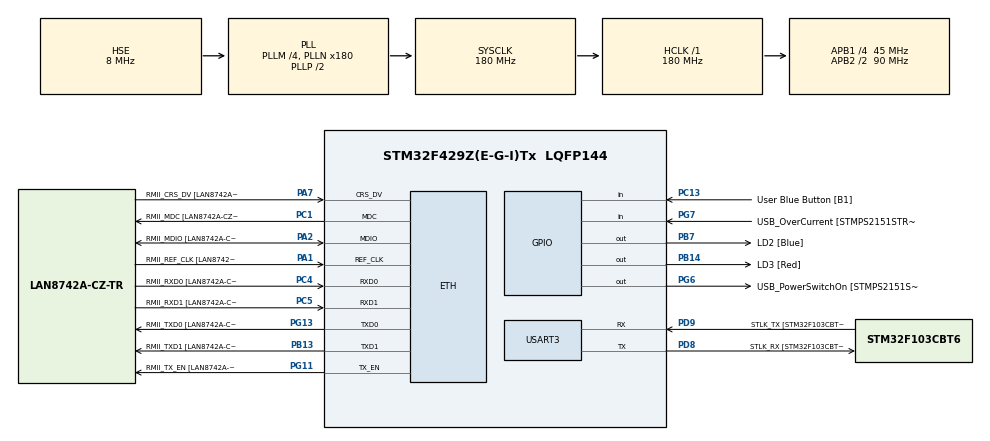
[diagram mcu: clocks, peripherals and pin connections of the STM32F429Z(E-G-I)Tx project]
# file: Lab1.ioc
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ETH.MediaInterface=ETH_MEDIA_INTERFACE_RMII
ETH.PHY_DUPLEX_STATUS=0x0010
ETH.PHY_MICR=0x1D
ETH.PHY_MISR=0x1E
ETH.PHY_MISR_LINK_INT_EN=0x0010
ETH.PHY_Name=LAN8742A_PHY_ADDRESS
ETH.PHY_SPEED_STATUS=0x0004
ETH.PHY_SR=0x1F
ETH.PhyAddress=0
ETH.RxMode=ETH_RXPOLLING_MODE
LWIP.LWIP_NETIF_LINK_CALLBACK=1
LWIP.LWIP_UDP=1
LWIP.MEMP_NUM_PBUF=10
LWIP.MEMP_NUM_TCP_PCB=10
LWIP.MEMP_NUM_TCP_PCB_LISTEN=10
LWIP.MEMP_NUM_TCP_SEG=12
LWIP.MEMP_NUM_UDP_PCB=6
LWIP.MEM_SIZE=10240
LWIP.NO_SYS_NO_TIMERS=0
LWIP.PBUF_POOL_BUFSIZE=512
LWIP.PBUF_POOL_SIZE=12
LWIP.TCP_MSS=1460
LWIP.TCP_QUEUE_OOSEQ=0
LWIP.TCP_SND_BUF=5840
LWIP.TCP_SND_QUEUELEN=8
LWIP.TCP_WND=2920
LWIP.Version=v1.5.0_RC0_20160211_Cube
Mcu.Family=STM32F4
Mcu.Name=STM32F429Z(E-G-I)Tx
Mcu.Package=LQFP144
NVIC.ETH_IRQn=true\:7\:0\:true\:false\:true
NVIC.PriorityGroup=NVIC_PRIORITYGROUP_4
PA1.GPIO_Label=RMII_REF_CLK [LAN8742A-CZ-TR_REFCLK0]
PA1.Mode=RMII
PA1.Signal=ETH_REF_CLK
PA10.GPIO_Label=USB_ID
PA10.Signal=USB_OTG_FS_ID
PA11.GPIO_Label=USB_DM
PA11.Signal=USB_OTG_FS_DM
PA12.GPIO_Label=USB_DP
PA12.Signal=USB_OTG_FS_DP
PA13.GPIO_Label=TMS
PA13.Mode=Serial_Wire
PA13.Signal=SYS_JTMS-SWDIO
PA14.GPIO_Label=TCK
PA14.Mode=Serial_Wire
PA14.Signal=SYS_JTCK-SWCLK
PA2.GPIO_Label=RMII_MDIO [LAN8742A-CZ-TR_MDIO]
PA2.Mode=RMII
PA2.Signal=ETH_MDIO
PA7.GPIO_Label=RMII_CRS_DV [LAN8742A-CZ-TR_CRS_DV]
PA7.Mode=RMII
PA7.Signal=ETH_CRS_DV
PA8.GPIO_Label=USB_SOF [TP1]
PA8.Signal=USB_OTG_FS_SOF
PA9.GPIO_Label=USB_VBUS
PA9.Signal=USB_OTG_FS_VBUS
PB13.GPIO_Label=RMII_TXD1 [LAN8742A-CZ-TR_TXD1]
PB13.Mode=RMII
PB13.Signal=ETH_TXD1
PB14.GPIO_Label=LD3 [Red]
PB14.Signal=GPIO_Output
PB7.GPIO_Label=LD2 [Blue]
PB7.Signal=GPIO_Output
PC1.GPIO_Label=RMII_MDC [LAN8742A-CZ-TR_MDC]
PC1.Mode=RMII
PC1.Signal=ETH_MDC
PC13.GPIO_Label=User Blue Button [B1]
PC13.Signal=GPIO_Input
PC14/OSC32_IN.Mode=LSE-External-Oscillator
PC14/OSC32_IN.Signal=RCC_OSC32_IN
PC15/OSC32_OUT.Mode=LSE-External-Oscillator
PC15/OSC32_OUT.Signal=RCC_OSC32_OUT
PC4.GPIO_Label=RMII_RXD0 [LAN8742A-CZ-TR_RXD0]
PC4.Mode=RMII
PC4.Signal=ETH_RXD0
PC5.GPIO_Label=RMII_RXD1 [LAN8742A-CZ-TR_RXD1]
PC5.Mode=RMII
PC5.Signal=ETH_RXD1
PD8.GPIO_Label=STLK_RX [STM32F103CBT6_PA3]
PD8.Mode=Asynchronous
PD8.Signal=USART3_TX
PD9.GPIO_Label=STLK_TX [STM32F103CBT6_PA2]
PD9.Mode=Asynchronous
PD9.Signal=USART3_RX
PG11.GPIO_Label=RMII_TX_EN [LAN8742A-CZ-TR_TXEN]
PG11.Mode=RMII
PG11.Signal=ETH_TX_EN
PG13.GPIO_Label=RMII_TXD0 [LAN8742A-CZ-TR_TXD0]
PG13.Mode=RMII
PG13.Signal=ETH_TXD0
PG6.GPIO_Label=USB_PowerSwitchOn [STMPS2151STR_EN]
PG6.Signal=GPIO_Output
PG7.GPIO_Label=USB_OverCurrent [STMPS2151STR_FAULT]
PG7.Signal=GPIO_Input
PH0/OSC_IN.GPIO_Label=MCO [STM32F103CBT6_PA8]
PH0/OSC_IN.Mode=HSE-External-Oscillator
PH0/OSC_IN.Signal=RCC_OSC_IN
PH1/OSC_OUT.Mode=HSE-External-Oscillator
PH1/OSC_OUT.Signal=RCC_OSC_OUT
ProjectManager.HeapSize=0x200
ProjectManager.StackSize=0x400
ProjectManager.TargetToolchain=EWARM
RCC.48MHZClocksFreq_Value=90000000
RCC.AHBFreq_Value=180000000
RCC.APB1CLKDivider=RCC_HCLK_DIV4
RCC.APB1Freq_Value=45000000
RCC.APB1TimFreq_Value=90000000
RCC.APB2CLKDivider=RCC_HCLK_DIV2
RCC.APB2Freq_Value=90000000
RCC.APB2TimFreq_Value=180000000
RCC.CortexFreq_Value=180000000
RCC.HCLKFreq_Value=180000000
RCC.HSE_VALUE=8000000
RCC.HSI_VALUE=8000000
RCC.PLLM=4
RCC.PLLMUL=RCC_PLL_MUL9
RCC.PLLN=180
RCC.PLLSourceVirtual=RCC_PLLSOURCE_HSE
RCC.PRESCALERUSB=RCC_USBCLKSOURCE_PLL_DIV1_5
RCC.SYSCLKFreq_VALUE=180000000
RCC.SYSCLKSource=RCC_SYSCLKSOURCE_PLLCLK
RCC.SYSCLKSourceVirtual=RCC_SYSCLKSOURCE_PLLCLK
RCC.USBFreq_Value=48000000
RCC.VCOOutputFreq_Value=360000000
VP_LWIP_VS_Enabled.Mode=Enabled
board=NUCLEO-F429ZI

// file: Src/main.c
/**
  ******************************************************************************
  * File Name          : main.c
  * Description        : Main program body
  ******************************************************************************
  *
  * COPYRIGHT(c) 2016 STMicroelectronics
  *
  * Redistribution and use in source and binary forms, with or without modification,
  * are permitted provided that the following conditions are met:
  *   1. Redistributions of source code must retain the above copyright notice,
  *      this list of conditions and the following disclaimer.
  *   2. Redistributions in binary form must reproduce the above copyright notice,
  *      this list of conditions and the following disclaimer in the documentation
  *      and/or other materials provided with the distribution.
  *   3. Neither the name of STMicroelectronics nor the names of its contributors
  *      may be used to endorse or promote products derived from this software
  *      without specific prior written permission.
  *
  * THIS SOFTWARE IS PROVIDED BY THE COPYRIGHT HOLDERS AND CONTRIBUTORS "AS IS"
  * AND ANY EXPRESS OR IMPLIED WARRANTIES, INCLUDING, BUT NOT LIMITED TO, THE
  * IMPLIED WARRANTIES OF MERCHANTABILITY AND FITNESS FOR A PARTICULAR PURPOSE ARE
  * DISCLAIMED. IN NO EVENT SHALL THE COPYRIGHT HOLDER OR CONTRIBUTORS BE LIABLE
  * FOR ANY DIRECT, INDIRECT, INCIDENTAL, SPECIAL, EXEMPLARY, OR CONSEQUENTIAL
  * DAMAGES (INCLUDING, BUT NOT LIMITED TO, PROCUREMENT OF SUBSTITUTE GOODS OR
  * SERVICES; LOSS OF USE, DATA, OR PROFITS; OR BUSINESS INTERRUPTION) HOWEVER
  * CAUSED AND ON ANY THEORY OF LIABILITY, WHETHER IN CONTRACT, STRICT LIABILITY,
  * OR TORT (INCLUDING NEGLIGENCE OR OTHERWISE) ARISING IN ANY WAY OUT OF THE USE
  * OF THIS SOFTWARE, EVEN IF ADVISED OF THE POSSIBILITY OF SUCH DAMAGE.
  *
  ******************************************************************************
  */
#include "stm32f4xx_hal.h"
#include "lwip.h"
#include "usart.h"
#include "gpio.h"

/* USER CODE BEGIN Includes */
#include "lwip/debug.h"
#include "lwip/stats.h"
#include "lwip/tcp.h"
#include "lwip/memp.h"
#include <stdio.h>
#include <string.h>
/* USER CODE END Includes */

/* USER CODE BEGIN PV */
/* Private variables ---------------------------------------------------------*/
extern struct netif gnetif;

u8_t  recev_buf[50];
__IO uint32_t message_count=0;

u8_t   data[100];

struct tcp_pcb *echoclient_pcb;

/* ECHO protocol states */
enum echoclient_states
{
  ES_NOT_CONNECTED = 0,
  ES_CONNECTED,
  ES_RECEIVED,
  ES_CLOSING,
};

/* structure to be passed as argument to the tcp callbacks */
struct echoclient
{
  enum echoclient_states state; /* connection status */
  struct tcp_pcb *pcb;          /* pointer on the current tcp_pcb */
  struct pbuf *p_tx;            /* pointer on pbuf to be transmitted */
};

/* USER CODE END PV */

void SystemClock_Config(void);
void Error_Handler(void);

/* USER CODE BEGIN PFP */
/* Private function prototypes -----------------------------------------------*/
void User_notification(struct netif *netif);
void tcp_echoclient_connect(void);
static err_t tcp_echoclient_recv(void *arg, struct tcp_pcb *tpcb, struct pbuf *p, err_t err);
static void tcp_echoclient_connection_close(struct tcp_pcb *tpcb, struct echoclient * es);
static err_t tcp_echoclient_poll(void *arg, struct tcp_pcb *tpcb);
static err_t tcp_echoclient_sent(void *arg, struct tcp_pcb *tpcb, u16_t len);
static void tcp_echoclient_send(struct tcp_pcb *tpcb, struct echoclient * es);
static err_t tcp_echoclient_connected(void *arg, struct tcp_pcb *tpcb, err_t err);
/* USER CODE END PFP */

int main(void)
{

  /* MCU Configuration----------------------------------------------------------*/

  /* Reset of all peripherals, Initializes the Flash interface and the Systick. */
  HAL_Init();

  /* Configure the system clock */
  SystemClock_Config();

  /* Initialize all configured peripherals */
  MX_GPIO_Init();
  MX_USART3_UART_Init();
  MX_LWIP_Init();

  /* USER CODE BEGIN 2 */
  /* Notify user about the network interface config */
  User_notification(&gnetif);
  ethernetif_set_link(&gnetif);

  /* USER CODE END 2 */

  /* Infinite loop */
  while (1)
  {

  /* USER CODE BEGIN 3 */
    /* Read a received packet from the Ethernet buffers and send it
       to the lwIP for handling */
    ethernetif_input(&gnetif);

    /* Handle timeouts */
    sys_check_timeouts();

    if (HAL_GPIO_ReadPin(GPIOC,GPIO_PIN_13) == GPIO_PIN_SET)
    {
      HAL_GPIO_WritePin(GPIOB,GPIO_PIN_14, GPIO_PIN_SET);
      /*connect to tcp server */
      tcp_echoclient_connect();
      HAL_GPIO_WritePin(GPIOB,GPIO_PIN_14, GPIO_PIN_RESET);
      while(HAL_GPIO_ReadPin(GPIOC,GPIO_PIN_13) == GPIO_PIN_SET);
      HAL_Delay(200);
    }
  }
  /* USER CODE END 3 */

}

/** System Clock Configuration
*/
void SystemClock_Config(void)
{

  RCC_OscInitTypeDef RCC_OscInitStruct;
  RCC_ClkInitTypeDef RCC_ClkInitStruct;

  __HAL_RCC_PWR_CLK_ENABLE();

  __HAL_PWR_VOLTAGESCALING_CONFIG(PWR_REGULATOR_VOLTAGE_SCALE1);

  RCC_OscInitStruct.OscillatorType = RCC_OSCILLATORTYPE_HSE;
  RCC_OscInitStruct.HSEState = RCC_HSE_ON;
  RCC_OscInitStruct.PLL.PLLState = RCC_PLL_ON;
  RCC_OscInitStruct.PLL.PLLSource = RCC_PLLSOURCE_HSE;
  RCC_OscInitStruct.PLL.PLLM = 4;
  RCC_OscInitStruct.PLL.PLLN = 180;
  RCC_OscInitStruct.PLL.PLLP = RCC_PLLP_DIV2;
  RCC_OscInitStruct.PLL.PLLQ = 4;
  if (HAL_RCC_OscConfig(&RCC_OscInitStruct) != HAL_OK)
  {
    Error_Handler();
  }

  if (HAL_PWREx_EnableOverDrive() != HAL_OK)
  {
    Error_Handler();
  }

  RCC_ClkInitStruct.ClockType = RCC_CLOCKTYPE_HCLK|RCC_CLOCKTYPE_SYSCLK
                              |RCC_CLOCKTYPE_PCLK1|RCC_CLOCKTYPE_PCLK2;
  RCC_ClkInitStruct.SYSCLKSource = RCC_SYSCLKSOURCE_PLLCLK;
  RCC_ClkInitStruct.AHBCLKDivider = RCC_SYSCLK_DIV1;
  RCC_ClkInitStruct.APB1CLKDivider = RCC_HCLK_DIV4;
  RCC_ClkInitStruct.APB2CLKDivider = RCC_HCLK_DIV2;
  if (HAL_RCC_ClockConfig(&RCC_ClkInitStruct, FLASH_LATENCY_5) != HAL_OK)
  {
    Error_Handler();
  }

  HAL_SYSTICK_Config(HAL_RCC_GetHCLKFreq()/1000);

  HAL_SYSTICK_CLKSourceConfig(SYSTICK_CLKSOURCE_HCLK);

  /* SysTick_IRQn interrupt configuration */
  HAL_NVIC_SetPriority(SysTick_IRQn, 0, 0);
}

/* USER CODE BEGIN 4 */
/**
  * @brief  Notify the User about the nework interface config status
  * @param  netif: the network interface
  * @retval None
  */
void User_notification(struct netif *netif)
{
  if (netif_is_up(netif))
  {
    /* Turn On LED 2 to indicate ETH and LwIP init success*/
    HAL_GPIO_WritePin(GPIOB,GPIO_PIN_7, GPIO_PIN_SET);
  }
  else
  {
    /* Turn On LED 3 to indicate ETH and LwIP init error */
    HAL_GPIO_WritePin(GPIOB,GPIO_PIN_14, GPIO_PIN_SET);
    while(1);
  }
}

/**
* @brief  Connects to the TCP echo server
* @param  None
* @retval None
*/
void tcp_echoclient_connect(void)
{
  ip_addr_t DestIPaddr;

  /* create new tcp pcb */
  echoclient_pcb = tcp_new();

  if (echoclient_pcb != NULL)
  {
    IP4_ADDR( &DestIPaddr, DEST_IP_ADDR0, DEST_IP_ADDR1, DEST_IP_ADDR2, DEST_IP_ADDR3 );

    /* connect to destination address/port */
    tcp_connect(echoclient_pcb,&DestIPaddr,DEST_PORT,tcp_echoclient_connected);
  }
}

/**
  * @brief Function called when TCP connection established
  * @param tpcb: pointer on the connection contol block
  * @param err: when connection correctly established err should be ERR_OK
  * @retval err_t: returned error
  */
static err_t tcp_echoclient_connected(void *arg, struct tcp_pcb *tpcb, err_t err)
{
  struct echoclient *es = NULL;

  if (err == ERR_OK)
  {
    /* allocate structure es to maintain tcp connection informations */
    es = (struct echoclient *)mem_malloc(sizeof(struct echoclient));

    if (es != NULL)
    {
      es->state = ES_CONNECTED;
      es->pcb = tpcb;

      sprintf((char*)data, "sending tcp client message %d", (int)message_count);

      /* allocate pbuf */
      es->p_tx = pbuf_alloc(PBUF_TRANSPORT, strlen((char*)data) , PBUF_POOL);

      if (es->p_tx)
      {
        /* copy data to pbuf */
        pbuf_take(es->p_tx, (char*)data, strlen((char*)data));

        /* pass newly allocated es structure as argument to tpcb */
        tcp_arg(tpcb, es);

        /* initialize LwIP tcp_recv callback function */
        tcp_recv(tpcb, tcp_echoclient_recv);

        /* initialize LwIP tcp_sent callback function */
        tcp_sent(tpcb, tcp_echoclient_sent);

        /* initialize LwIP tcp_poll callback function */
        tcp_poll(tpcb, tcp_echoclient_poll, 1);

        /* send data */
        tcp_echoclient_send(tpcb,es);

        return ERR_OK;
      }
    }
    else
    {
      /* close connection */
      tcp_echoclient_connection_close(tpcb, es);

      /* return memory allocation error */
      return ERR_MEM;
    }
  }
  else
  {
    /* close connection */
    tcp_echoclient_connection_close(tpcb, es);
  }
  return err;
}

/**
  * @brief tcp_receiv callback
  * @param arg: argument to be passed to receive callback
  * @param tpcb: tcp connection control block
  * @param err: receive error code
  * @retval err_t: retuned error
  */
static err_t tcp_echoclient_recv(void *arg, struct tcp_pcb *tpcb, struct pbuf *p, err_t err)
{
  struct echoclient *es;
  err_t ret_err;

  LWIP_ASSERT("arg != NULL",arg != NULL);

  es = (struct echoclient *)arg;

  /* if we receive an empty tcp frame from server => close connection */
  if (p == NULL)
  {
    /* remote host closed connection */
    es->state = ES_CLOSING;
    if(es->p_tx == NULL)
    {
       /* we're done sending, close connection */
       tcp_echoclient_connection_close(tpcb, es);
    }
    else
    {
      /* send remaining data*/
      tcp_echoclient_send(tpcb, es);
    }
    ret_err = ERR_OK;
  }
  /* else : a non empty frame was received from echo server but for some reason err != ERR_OK */
  else if(err != ERR_OK)
  {
    /* free received pbuf*/
    if (p != NULL)
    {
      pbuf_free(p);
    }
    ret_err = err;
  }
  else if(es->state == ES_CONNECTED)
  {
    /* increment message count */
    message_count++;

    /* Acknowledge data reception */
    tcp_recved(tpcb, p->tot_len);

    pbuf_free(p);
    tcp_echoclient_connection_close(tpcb, es);
    ret_err = ERR_OK;
  }

  /* data received when connection already closed */
  else
  {
    /* Acknowledge data reception */
    tcp_recved(tpcb, p->tot_len);

    /* free pbuf and do nothing */
    pbuf_free(p);
    ret_err = ERR_OK;
  }
  return ret_err;
}

/**
  * @brief function used to send data
  * @param  tpcb: tcp control block
  * @param  es: pointer on structure of type echoclient containing info on data
  *             to be sent
  * @retval None
  */
static void tcp_echoclient_send(struct tcp_pcb *tpcb, struct echoclient * es)
{
  struct pbuf *ptr;
  err_t wr_err = ERR_OK;

  while ((wr_err == ERR_OK) &&
         (es->p_tx != NULL) &&
         (es->p_tx->len <= tcp_sndbuf(tpcb)))
  {

    /* get pointer on pbuf from es structure */
    ptr = es->p_tx;

    /* enqueue data for transmission */
    wr_err = tcp_write(tpcb, ptr->payload, ptr->len, 1);

    if (wr_err == ERR_OK)
    {
      /* continue with next pbuf in chain (if any) */
      es->p_tx = ptr->next;

      if(es->p_tx != NULL)
      {
        /* increment reference count for es->p */
        pbuf_ref(es->p_tx);
      }

      /* free pbuf: will free pbufs up to es->p (because es->p has a reference count > 0) */
      pbuf_free(ptr);
   }
   else if(wr_err == ERR_MEM)
   {
      /* we are low on memory, try later, defer to poll */
     es->p_tx = ptr;
   }
   else
   {
     /* other problem ?? */
   }
  }
}

/**
  * @brief  This function implements the tcp_poll callback function
  * @param  arg: pointer on argument passed to callback
  * @param  tpcb: tcp connection control block
  * @retval err_t: error code
  */
static err_t tcp_echoclient_poll(void *arg, struct tcp_pcb *tpcb)
{
  err_t ret_err;
  struct echoclient *es;

  es = (struct echoclient*)arg;
  if (es != NULL)
  {
    if (es->p_tx != NULL)
    {
      /* there is a remaining pbuf (chain) , try to send data */
      tcp_echoclient_send(tpcb, es);
    }
    else
    {
      /* no remaining pbuf (chain)  */
      if(es->state == ES_CLOSING)
      {
        /* close tcp connection */
        tcp_echoclient_connection_close(tpcb, es);
      }
    }
    ret_err = ERR_OK;
  }
  else
  {
    /* nothing to be done */
    tcp_abort(tpcb);
    ret_err = ERR_ABRT;
  }
  return ret_err;
}

/**
  * @brief  This function implements the tcp_sent LwIP callback (called when ACK
  *         is received from remote host for sent data)
  * @param  arg: pointer on argument passed to callback
  * @param  tcp_pcb: tcp connection control block
  * @param  len: length of data sent
  * @retval err_t: returned error code
  */
static err_t tcp_echoclient_sent(void *arg, struct tcp_pcb *tpcb, u16_t len)
{
  struct echoclient *es;

  LWIP_UNUSED_ARG(len);

  es = (struct echoclient *)arg;

  if(es->p_tx != NULL)
  {
    /* still got pbufs to send */
    tcp_echoclient_send(tpcb, es);
  }

  return ERR_OK;
}

/**
  * @brief This function is used to close the tcp connection with server
  * @param tpcb: tcp connection control block
  * @param es: pointer on echoclient structure
  * @retval None
  */
static void tcp_echoclient_connection_close(struct tcp_pcb *tpcb, struct echoclient * es )
{
  /* remove callbacks */
  tcp_recv(tpcb, NULL);
  tcp_sent(tpcb, NULL);
  tcp_poll(tpcb, NULL,0);

  if (es != NULL)
  {
    mem_free(es);
  }

  /* close tcp connection */
  tcp_close(tpcb);

}

/**
  * @brief  This function notify user about link status changement.
  * @param  netif: the network interface
  * @retval None
  */
void ethernetif_notify_conn_changed(struct netif *netif)
{
  ip_addr_t ipaddr;
  ip_addr_t netmask;
  ip_addr_t gw;

  if(netif_is_link_up(netif))
  {
    IP4_ADDR(&ipaddr, IP_ADDR0, IP_ADDR1, IP_ADDR2, IP_ADDR3);
    IP4_ADDR(&netmask, NETMASK_ADDR0, NETMASK_ADDR1 , NETMASK_ADDR2, NETMASK_ADDR3);
    IP4_ADDR(&gw, GW_ADDR0, GW_ADDR1, GW_ADDR2, GW_ADDR3);

    netif_set_addr(netif, &ipaddr , &netmask, &gw);

    /* When the netif is fully configured this function must be called.*/
    netif_set_up(netif);
  }
  else
  {
    /*  When the netif link is down this function must be called.*/
    netif_set_down(netif);
  }
}

/* USER CODE END 4 */

void Error_Handler(void)
{
  while(1)
  {
  }
}

/************************ (C) COPYRIGHT STMicroelectronics *****END OF FILE****/
